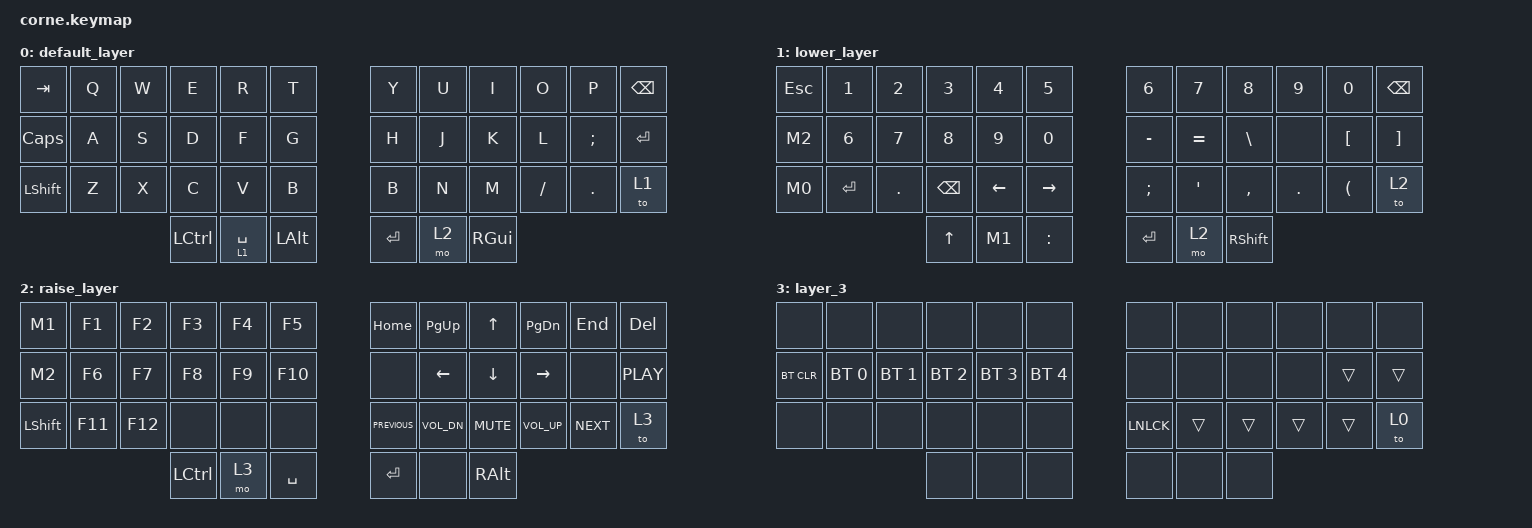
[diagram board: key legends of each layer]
/*
 * Copyright (c) 2020 The ZMK Contributors
 *
 * SPDX-License-Identifier: MIT
 */

#include <behaviors.dtsi>
#include <dt-bindings/zmk/bt.h>
#include <dt-bindings/zmk/keys.h>

/ {
    behaviors {
        tp: tap_preferred {
            compatible = "zmk,behavior-hold-tap";
            label = "TAP_PREFERRED";
            #binding-cells = <2>;
            tapping-term-ms = <150>;
            quick-tap-ms = <0>;
            flavor = "tap-preferred";
            bindings = <&kp>, <&kp>;
        };
    };

    macros {
        M0: M0 {
            compatible = "zmk,behavior-macro";
            #binding-cells = <0>;
            bindings = <&kp LC(Z)>;
            label = "M0";
        };

        M1: M1 {
            compatible = "zmk,behavior-macro";
            #binding-cells = <0>;
            bindings = <&kp LC(C)>;
            label = "M1";
        };

        M2: M2 {
            compatible = "zmk,behavior-macro";
            #binding-cells = <0>;
            bindings = <&kp LC(V)>;
            label = "M2";
        };
    };

    keymap {
        compatible = "zmk,keymap";

        default_layer {
            // -----------------------------------------------------------------------------------------
            // |  TAB |  Q  |  W  |  E  |  R  |  T  |   |  Y  |  U   |  I  |  O  |  P  | BKSP |
            // | CTRL |  A  |  S  |  D  |  F  |  G  |   |  H  |  J   |  K  |  L  |  ;  |  '   |
            // | SHFT |  Z  |  X  |  C  |  V  |  B  |   |  N  |  M   |  ,  |  .  |  /  | ESC  |
            //                    | GUI | LWR | SPC |   | ENT | RSE  | ALT |

            bindings = <
&kp TAB    &kp Q  &kp W  &kp E      &kp R        &kp T       &kp Y    &kp U  &kp I     &kp O      &kp P     &kp BSPC
&kp CAPS   &kp A  &kp S  &kp D      &kp F        &kp G       &kp H    &kp J  &kp K     &kp L      &kp SEMI  &kp ENTER
&kp LSHFT  &kp Z  &kp X  &kp C      &kp V        &kp B       &kp B    &kp N  &kp M     &kp SLASH  &kp DOT   &to 1
                         &kp LCTRL  &lt 1 SPACE  &kp LALT    &kp RET  &mo 2  &kp RGUI
            >;
        };

        lower_layer {
            // -----------------------------------------------------------------------------------------
            // |  TAB |  1  |  2  |  3  |  4  |  5  |   |  6  |  7  |  8  |  9  |  0  | BKSP |
            // | BTCLR| BT1 | BT2 | BT3 | BT4 | BT5 |   | LFT | DWN |  UP | RGT |     |      |
            // | SHFT |     |     |     |     |     |   |     |     |     |     |     |      |
            //                    | GUI |     | SPC |   | ENT |     | ALT |

            bindings = <
&kp ESC  &kp N1     &kp N2   &kp N3         &kp N4    &kp N5       &kp N6     &kp N7     &kp N8     &kp N9   &kp N0    &kp BSPC
&M2      &kp N6     &kp N7   &kp N8         &kp N9    &kp N0       &kp MINUS  &kp EQUAL  &kp BSLH   &none    &kp LBKT  &kp RBKT
&M0      &kp ENTER  &kp DOT  &kp BACKSPACE  &kp LEFT  &kp RIGHT    &kp SEMI   &kp APOS   &kp COMMA  &kp DOT  &kp LPAR  &to 2
                             &kp UP         &M1       &kp COLON    &kp ENTER  &mo 2      &kp RSHFT
            >;
        };

        raise_layer {
            // -----------------------------------------------------------------------------------------
            // |  TAB |  !  |  @  |  #  |  $  |  %  |   |  ^  |  &  |  *  |  (  |  )  | BKSP |
            // | CTRL |     |     |     |     |     |   |  -  |  =  |  [  |  ]  |  \  |  `   |
            // | SHFT |     |     |     |     |     |   |  _  |  +  |  {  |  }  | "|" |  ~   |
            //                    | GUI |     | SPC |   | ENT |     | ALT |

            bindings = <
&M1        &kp F1   &kp F2   &kp F3     &kp F4  &kp F5       &kp HOME        &kp PG_UP     &kp UP      &kp PG_DN     &kp END     &kp DEL
&M2        &kp F6   &kp F7   &kp F8     &kp F9  &kp F10      &none           &kp LEFT      &kp DOWN    &kp RIGHT     &none       &kp C_PLAY
&kp LSHFT  &kp F11  &kp F12  &none      &none   &none        &kp K_PREVIOUS  &kp C_VOL_DN  &kp K_MUTE  &kp C_VOL_UP  &kp K_NEXT  &to 3
                             &kp LCTRL  &mo 3   &kp SPACE    &kp RET         &none         &kp RALT
            >;
        };

        layer_3 {
            bindings = <
&none       &none         &none         &none         &none         &none           &none      &none   &none   &none   &none   &none
&bt BT_CLR  &bt BT_SEL 0  &bt BT_SEL 1  &bt BT_SEL 2  &bt BT_SEL 3  &bt BT_SEL 4    &none      &none   &none   &none   &trans  &trans
&none       &none         &none         &none         &none         &none           &kp LNLCK  &trans  &trans  &trans  &trans  &to 0
                                        &none         &none         &none           &none      &none   &none
            >;
        };
    };
};
